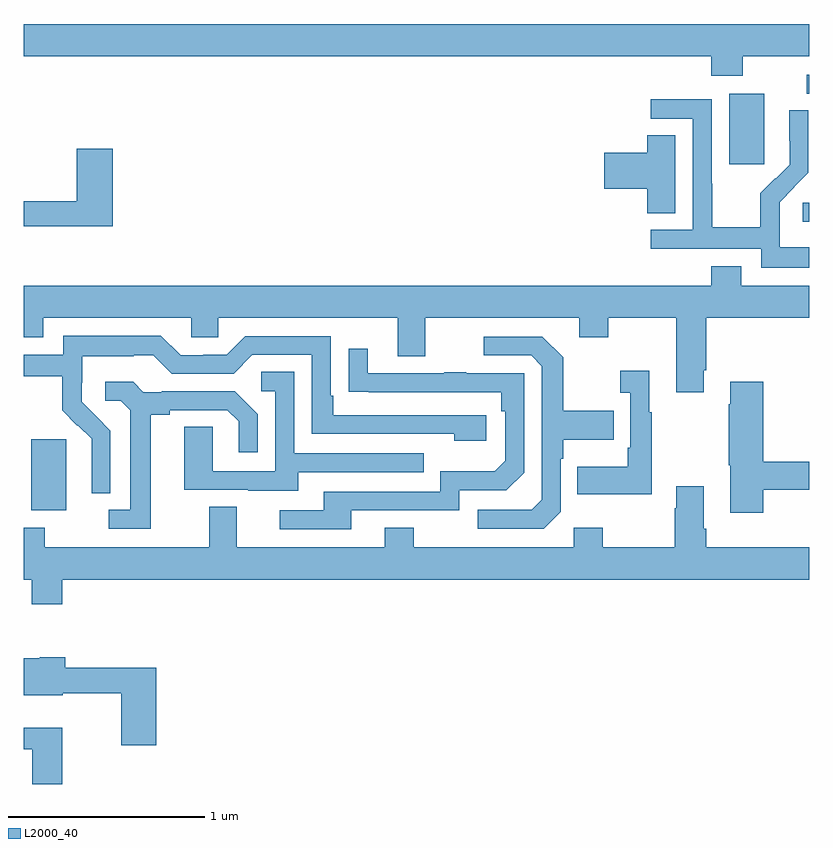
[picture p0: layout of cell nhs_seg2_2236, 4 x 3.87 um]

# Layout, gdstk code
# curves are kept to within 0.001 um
import gdstk
lib = gdstk.Library(unit=1e-6, precision=1e-09)
def R(c, l, rs):  # rectangles x0, y0, x1, y1
    for r in rs: c.add(gdstk.rectangle(r[:2], r[2:], *l))
def P(c, l, *ps):  # polygons
    for p in ps: c.add(gdstk.Polygon(p, *l))
L2000_40 = (2000, 40)

nhs_seg2_2236 = lib.new_cell('nhs_seg2_2236')
R(nhs_seg2_2236, L2000_40, [(227.039,649.322,227.218,649.683), (230.967,650.789,231,650.886), (230.591,651.081,230.77,651.442), (230.985,651.441,231,651.537)])
P(nhs_seg2_2236, L2000_40, [(230.661,651.632),(231,651.632),(231,651.796),(227,651.796),(227,651.632),(230.501,651.632),(230.501,651.533),(230.661,651.533)],
  [(231,650.659),(230.85,650.659),(230.85,650.793),(230.848,650.793),(230.848,650.89),(230.994,651.038),(230.994,651.356),(230.898,651.356),(230.898,651.202),(230.9,651.202),(230.9,651.08),(230.829,651.009),(230.826,651.012),(230.749,650.935),(230.749,650.761),(230.505,650.761),(230.505,650.984),(230.502,650.984),(230.502,651.414),(230.193,651.414),(230.193,651.315),(230.406,651.315),(230.406,650.748),(230.193,650.748),(230.193,650.652),(230.754,650.652),(230.754,650.555),(231,650.555)],
  [(230.317,651.23),(230.174,651.23),(230.174,651.14),(229.956,651.14),(229.956,650.957),(230.174,650.957),(230.174,650.833),(230.317,650.833)],
  [(227.453,651.16),(227.27,651.16),(227.27,650.894),(227,650.894),(227,650.766),(227.453,650.766)],
  [(230.461,650.035),(230.474,650.035),(230.474,650.3),(231,650.3),(231,650.464),(230.653,650.464),(230.653,650.563),(230.501,650.563),(230.501,650.464),(227,650.464),(227,650.201),(227.101,650.201),(227.101,650.3),(227.853,650.3),(227.853,650.202),(227.991,650.202),(227.991,650.3),(228.905,650.3),(228.905,650.106),(229.045,650.106),(229.045,650.3),(229.829,650.3),(229.829,650.201),(229.977,650.201),(229.977,650.3),(230.321,650.3),(230.321,649.923),(230.461,649.923)],
  [(227.442,649.726),(227.296,649.874),(227.296,649.971),(227.298,649.971),(227.298,650.105),(227.561,650.105),(227.561,650.109),(227.661,650.109),(227.754,650.016),(228.069,650.016),(228.165,650.112),(228.468,650.112),(228.468,649.71),(229.193,649.71),(229.193,649.676),(229.354,649.676),(229.354,649.806),(228.577,649.806),(228.577,649.903),(228.564,649.903),(228.564,650.208),(228.129,650.208),(228.033,650.112),(227.915,650.112),(227.915,650.109),(227.799,650.109),(227.699,650.209),(227.202,650.209),(227.202,650.112),(227,650.112),(227,650.004),(227.197,650.004),(227.197,649.829),(227.274,649.752),(227.277,649.755),(227.348,649.685),(227.348,649.562),(227.346,649.562),(227.346,649.408),(227.442,649.408)],
  [(229.734,649.314),(229.734,649.583),(229.747,649.583),(229.747,649.679),(230.003,649.679),(230.003,649.827),(229.747,649.827),(229.747,650.099),(229.641,650.205),(229.341,650.205),(229.341,650.109),(229.584,650.109),(229.638,650.055),(229.638,649.374),(229.587,649.323),(229.311,649.323),(229.311,649.227),(229.647,649.227)],
  [(228.667,649.32),(229.218,649.32),(229.218,649.422),(229.458,649.422),(229.548,649.512),(229.548,650.019),(229.253,650.019),(229.253,650.024),(229.141,650.024),(229.141,650.019),(228.751,650.019),(228.751,650.143),(228.655,650.143),(228.655,649.924),(229.432,649.923),(229.432,649.826),(229.452,649.826),(229.452,649.572),(229.399,649.519),(229.122,649.519),(229.122,649.416),(228.527,649.416),(228.527,649.32),(228.303,649.32),(228.303,649.224),(228.667,649.224)],
  [(230.197,649.819),(230.185,649.819),(230.185,650.032),(230.037,650.032),(230.037,649.919),(230.088,649.919),(230.088,649.639),(230.076,649.639),(230.076,649.543),(229.819,649.543),(229.819,649.403),(230.197,649.403)],
  [(228.397,649.515),(229.037,649.515),(229.037,649.611),(228.378,649.611),(228.378,650.027),(228.21,650.027),(228.21,649.926),(228.282,649.926),(228.282,649.521),(227.964,649.521),(227.964,649.745),(227.819,649.745),(227.819,649.425),(228.143,649.425),(228.143,649.421),(228.397,649.421)],
  [(230.765,649.426),(231,649.426),(231,649.568),(230.765,649.568),(230.765,649.975),(230.597,649.975),(230.597,649.862),(230.59,649.862),(230.59,649.551),(230.597,649.551),(230.597,649.308),(230.765,649.308)],
  [(227.647,649.808),(227.743,649.808),(227.743,649.83),(228.038,649.83),(228.095,649.773),(228.095,649.617),(228.192,649.617),(228.192,649.81),(228.076,649.926),(227.704,649.926),(227.704,649.923),(227.61,649.923),(227.558,649.975),(227.415,649.975),(227.415,649.878),(227.496,649.878),(227.543,649.831),(227.543,649.323),(227.433,649.323),(227.433,649.227),(227.647,649.227)],
  [(227.198,648.968),(231,648.968),(231,649.132),(230.474,649.132),(230.474,649.228),(230.461,649.228),(230.461,649.444),(230.321,649.444),(230.321,649.331),(230.314,649.331),(230.314,649.132),(229.947,649.132),(229.947,649.231),(229.8,649.231),(229.8,649.132),(228.987,649.132),(228.987,649.231),(228.839,649.231),(228.839,649.132),(228.085,649.132),(228.085,649.34),(227.945,649.34),(227.945,649.132),(227.109,649.132),(227.109,649.231),(227,649.231),(227,648.968),(227.041,648.968),(227.041,648.844),(227.198,648.844)],
  [(227.675,648.52),(227.213,648.52),(227.213,648.574),(227.082,648.574),(227.082,648.568),(227,648.568),(227,648.38),(227.2,648.38),(227.2,648.391),(227.497,648.391),(227.497,648.126),(227.675,648.126)],
  [(227.198,648.214),(227,648.214),(227,648.105),(227.045,648.105),(227.045,647.928),(227.198,647.928)])

lib.write_gds('nhs_seg2_2236.gds')
